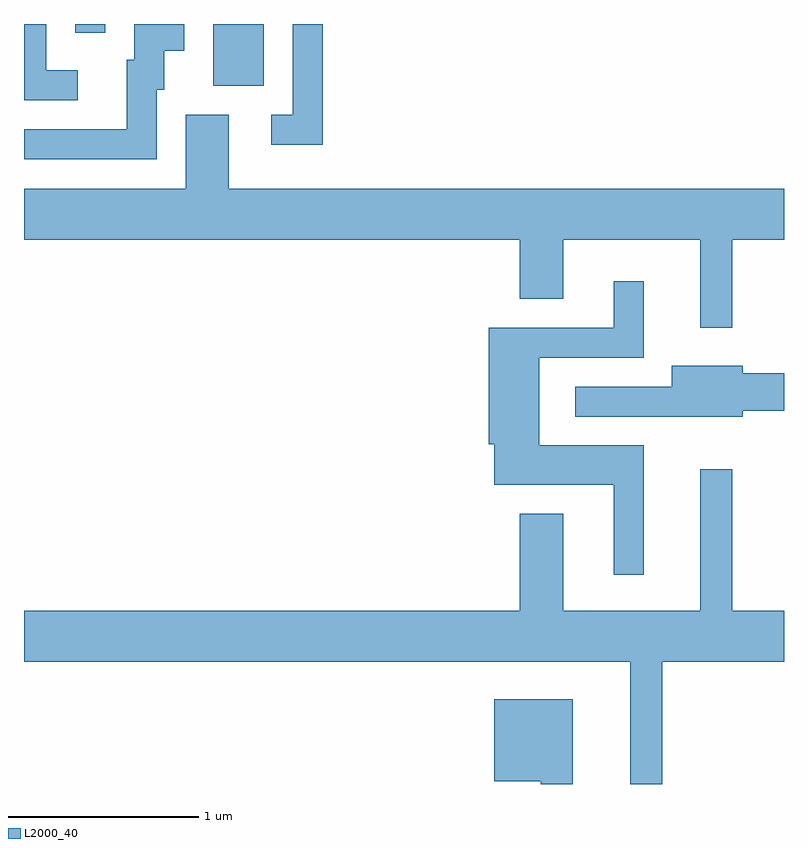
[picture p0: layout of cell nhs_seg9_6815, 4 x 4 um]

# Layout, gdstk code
import gdstk
lib = gdstk.Library(unit=1e-6, precision=1e-09)
def R(c, l, rs):  # rectangles x0, y0, x1, y1
    for r in rs: c.add(gdstk.rectangle(r[:2], r[2:], *l))
def P(c, l, *ps):  # polygons
    for p in ps: c.add(gdstk.Polygon(p, *l))
L2000_40 = (2000, 40)

nhs_seg9_6815 = lib.new_cell('nhs_seg9_6815')
R(nhs_seg9_6815, L2000_40, [(386.606,2068.106,386.874,2068.432), (385.881,2068.387,386.039,2068.432)])
P(nhs_seg9_6815, L2000_40, [(386.309,2068.086),(386.349,2068.086),(386.349,2068.291),(386.454,2068.291),(386.454,2068.432),(386.191,2068.432),(386.191,2068.244),(386.151,2068.244),(386.151,2067.879),(385.611,2067.879),(385.611,2067.721),(386.309,2067.721)],
  [(385.893,2068.189),(385.729,2068.189),(385.729,2068.432),(385.611,2068.432),(385.611,2068.031),(385.893,2068.031)],
  [(387.184,2068.432),(387.026,2068.432),(387.026,2067.954),(386.913,2067.954),(386.913,2067.796),(387.184,2067.796)],
  [(389.339,2067.296),(389.611,2067.296),(389.611,2067.564),(386.689,2067.564),(386.689,2067.954),(386.461,2067.954),(386.461,2067.564),(385.611,2067.564),(385.611,2067.296),(388.221,2067.296),(388.221,2066.986),(388.449,2066.986),(388.449,2067.296),(389.171,2067.296),(389.171,2066.833),(389.339,2066.833)],
  [(388.874,2066.214),(388.324,2066.214),(388.324,2066.676),(388.874,2066.676),(388.874,2067.077),(388.716,2067.077),(388.716,2066.834),(388.056,2066.834),(388.056,2066.221),(388.086,2066.221),(388.086,2066.006),(388.716,2066.006),(388.716,2065.533),(388.874,2065.533)],
  [(389.394,2066.396),(389.611,2066.396),(389.611,2066.594),(389.394,2066.594),(389.394,2066.634),(389.021,2066.634),(389.021,2066.524),(388.513,2066.524),(388.513,2066.366),(389.394,2066.366)],
  [(388.969,2065.076),(389.611,2065.076),(389.611,2065.344),(389.339,2065.344),(389.339,2066.088),(389.171,2066.088),(389.171,2065.344),(388.449,2065.344),(388.449,2065.854),(388.221,2065.854),(388.221,2065.344),(385.611,2065.344),(385.611,2065.076),(388.801,2065.076),(388.801,2064.432),(388.969,2064.432)],
  [(388.499,2064.879),(388.086,2064.879),(388.086,2064.446),(388.331,2064.446),(388.331,2064.432),(388.499,2064.432)])

lib.write_gds('nhs_seg9_6815.gds')
